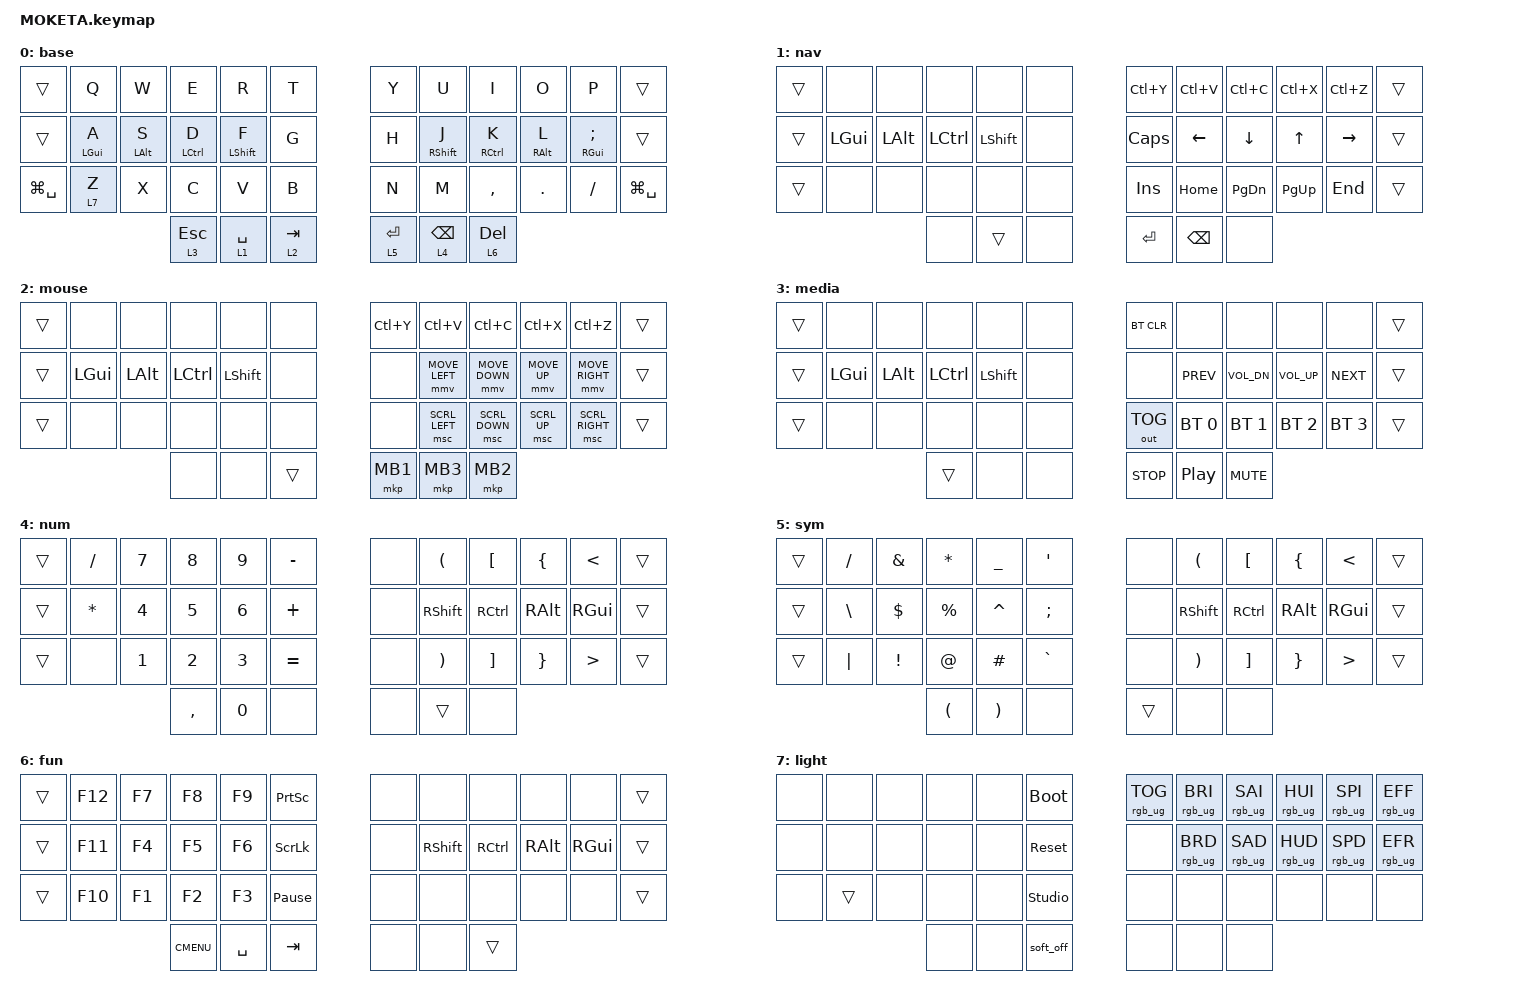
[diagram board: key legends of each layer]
#include <behaviors.dtsi>
#include <dt-bindings/zmk/bt.h>
#include <dt-bindings/zmk/keys.h>
#include <dt-bindings/zmk/outputs.h>
#include <dt-bindings/zmk/pointing.h>
#include <dt-bindings/zmk/rgb.h>

#define DEF 0
#define LWR 1
#define RSE 2
#define ADJ 3

/ {
};

/ {
    behaviors {
        hrm: hr {
            compatible = "zmk,behavior-hold-tap";
            label = "hrm";
            bindings = <&kp>, <&kp>;

            #binding-cells = <2>;
            tapping-term-ms = <200>;
            flavor = "balanced";
            quick-tap-ms = <150>;
        };
    };

    combos {
        compatible = "zmk,combos";

        cha {
            bindings = <&kp LBKT>;
            key-positions = <7 8>;
            layers = <0>;
        };

        znak {
            bindings = <&kp RBKT>;
            key-positions = <8 9>;
            layers = <0>;
        };

        ue {
            bindings = <&kp SQT>;
            key-positions = <31 32>;
            layers = <0>;
        };

        yo {
            bindings = <&kp GRAVE>;
            key-positions = <4 3>;
            layers = <0>;
        };
    };

    keymap {
        compatible = "zmk,keymap";

        base {
            bindings = <
&trans         &kp Q            &kp W            &kp E         &kp R          &kp T                                &kp Y       &kp U          &kp I         &kp O             &kp P                &trans
&trans         &hrm LEFT_GUI A  &hrm LEFT_ALT S  &hrm LCTRL D  &hrm LSHIFT F  &kp G                                &kp H       &hrm RSHIFT J  &hrm RCTRL K  &hrm RIGHT_ALT L  &hrm RIGHT_GUI SEMI  &trans
&kp LG(SPACE)  &lt 7 Z          &kp X            &kp C         &kp V          &kp B                                &kp N       &kp M          &kp COMMA     &kp DOT           &kp FSLH             &kp LG(SPACE)
                                                               &lt 3 ESC      &lt 1 SPACE  &lt 2 TAB  &lt 5 ENTER  &lt 4 BSPC  &lt 6 DEL
            >;
        };

        nav {
            bindings = <
&trans  &none     &none     &none      &none      &none                     &kp LC(Y)  &kp LC(V)  &kp LC(C)  &kp LC(X)  &kp LC(Z)  &trans
&trans  &kp LGUI  &kp LALT  &kp LCTRL  &kp LSHFT  &none                     &kp CAPS   &kp LEFT   &kp DOWN   &kp UP     &kp RIGHT  &trans
&trans  &none     &none     &none      &none      &none                     &kp INS    &kp HOME   &kp PG_DN  &kp PG_UP  &kp END    &trans
                                       &none      &trans  &none  &kp ENTER  &kp BSPC   &none
            >;
        };

        mouse {
            bindings = <
&trans  &none     &none     &none      &none      &none                    &kp LC(Y)  &kp LC(V)       &kp LC(C)       &kp LC(X)     &kp LC(Z)        &trans
&trans  &kp LGUI  &kp LALT  &kp LCTRL  &kp LSHFT  &none                    &none      &mmv MOVE_LEFT  &mmv MOVE_DOWN  &mmv MOVE_UP  &mmv MOVE_RIGHT  &trans
&trans  &none     &none     &none      &none      &none                    &none      &msc SCRL_LEFT  &msc SCRL_DOWN  &msc SCRL_UP  &msc SCRL_RIGHT  &trans
                                       &none      &none  &trans  &mkp MB1  &mkp MB3   &mkp MB2
            >;
        };

        media {
            bindings = <
&trans  &none     &none     &none      &none      &none                     &bt BT_CLR        &none         &none         &none         &none         &trans
&trans  &kp LGUI  &kp LALT  &kp LCTRL  &kp LSHFT  &none                     &none             &kp C_PREV    &kp C_VOL_DN  &kp C_VOL_UP  &kp C_NEXT    &trans
&trans  &none     &none     &none      &none      &none                     &out OUT_TOG      &bt BT_SEL 0  &bt BT_SEL 1  &bt BT_SEL 2  &bt BT_SEL 3  &trans
                                       &trans     &none  &none  &kp C_STOP  &kp C_PLAY_PAUSE  &kp C_MUTE
            >;
        };

        num {
            bindings = <
&trans  &kp FSLH  &kp N7  &kp N8  &kp N9     &kp MINUS                &none   &kp LPAR   &kp LBKT   &kp LBRC  &kp LT    &trans
&trans  &kp STAR  &kp N4  &kp N5  &kp N6     &kp PLUS                 &none   &kp RSHFT  &kp RCTRL  &kp RALT  &kp RGUI  &trans
&trans  &none     &kp N1  &kp N2  &kp N3     &kp EQUAL                &none   &kp RPAR   &kp RBKT   &kp RBRC  &kp GT    &trans
                                  &kp COMMA  &kp N0     &none  &none  &trans  &none
            >;
        };

        sym {
            bindings = <
&trans  &kp FSLH  &kp AMPS  &kp STAR   &kp UNDER  &kp SQT                   &none  &kp LPAR   &kp LBKT   &kp LBRC  &kp LT    &trans
&trans  &kp BSLH  &kp DLLR  &kp PRCNT  &kp CARET  &kp SEMI                  &none  &kp RSHFT  &kp RCTRL  &kp RALT  &kp RGUI  &trans
&trans  &kp PIPE  &kp EXCL  &kp AT     &kp HASH   &kp GRAVE                 &none  &kp RPAR   &kp RBKT   &kp RBRC  &kp GT    &trans
                                       &kp LPAR   &kp RPAR   &none  &trans  &none  &none
            >;
        };

        fun {
            bindings = <
&trans  &kp F12  &kp F7  &kp F8  &kp F9       &kp PRINTSCREEN                  &none  &none      &none      &none     &none     &trans
&trans  &kp F11  &kp F4  &kp F5  &kp F6       &kp SCROLLLOCK                   &none  &kp RSHFT  &kp RCTRL  &kp RALT  &kp RGUI  &trans
&trans  &kp F10  &kp F1  &kp F2  &kp F3       &kp PAUSE_BREAK                  &none  &none      &none      &none     &none     &trans
                                 &kp K_CMENU  &kp SPACE        &kp TAB  &none  &none  &trans
            >;
        };

        light {
            bindings = <
&none  &none   &none  &none  &none  &bootloader                       &rgb_ug RGB_TOG  &rgb_ug RGB_BRI  &rgb_ug RGB_SAI  &rgb_ug RGB_HUI  &rgb_ug RGB_SPI  &rgb_ug RGB_EFF
&none  &none   &none  &none  &none  &sys_reset                        &none            &rgb_ug RGB_BRD  &rgb_ug RGB_SAD  &rgb_ug RGB_HUD  &rgb_ug RGB_SPD  &rgb_ug RGB_EFR
&none  &trans  &none  &none  &none  &studio_unlock                    &none            &none            &none            &none            &none            &none
                             &none  &none           &soft_off  &none  &none            &none
            >;
        };
    };
};
